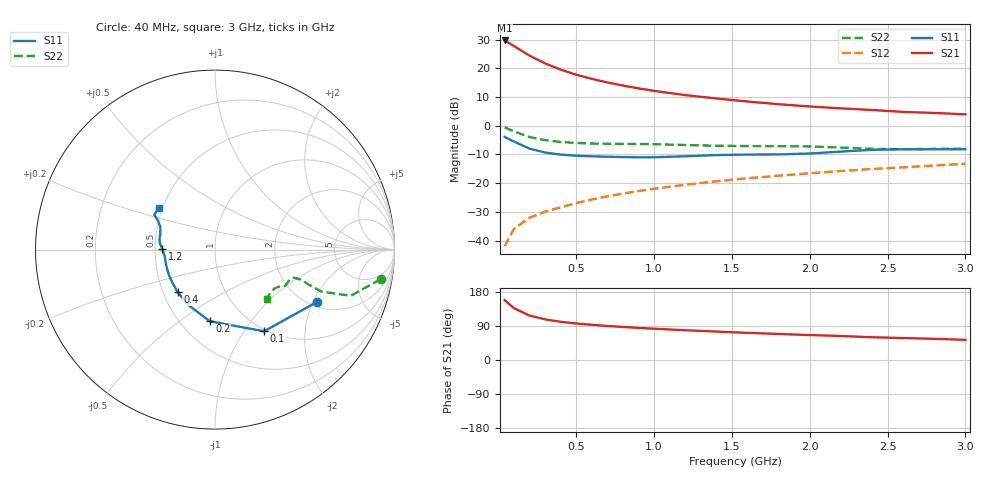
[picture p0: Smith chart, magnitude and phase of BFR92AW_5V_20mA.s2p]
! Filename:  BFR92AWE.S2P  Version:  4.0
! Philips part #: BFR92AW  Date: Jun 1994
! Bias condition: Vce=5V, Ic=20mA
#  MHz  S  MA  R  50
! Freq  S11  S21  S12  S22  !GUM [dB]
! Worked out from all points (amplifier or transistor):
!   21 points, 40 MHz to 3 GHz, reference 50 ohm
!   highest |S21| = 29.7 dB at 40 MHz (marker M1)
!   |S21| within 3 dB of that: start of sweep to 132.2 MHz
!   unconditionally stable (mu >= 1): 461.3 MHz to end of sweep
!   at 300 MHz: K = 0.85, MSG = 25.8 dB, |S12| = -29.9 dB
!   at 1 GHz: K = 1.12, MAG = 14.9 dB, |S12| = -21.9 dB
!   at 3 GHz: K = 1.07, MAG = 7.0 dB, |S12| = -13.2 dB
!   S11 on the Smith chart (normalised r, x): 40 MHz: 2.19, -2.16; 100 MHz: 0.98, -1.24; 200 MHz: 0.69, -0.65; 400 MHz: 0.59, -0.31; 1.2 GHz: 0.55, +0.01; 3 GHz: 0.48, +0.26
40  0.64 -27.0  30.62 158.1  0.008 79.1  0.938 -10.1
100  0.531 -59.0  24.55 136.8  0.016 67.8  0.799 -18.8
200  0.4 -94.2  16.7 117.3  0.025 63.6  0.638 -21.5
300  0.342 -116.1  12.19 107.2  0.032 64.4  0.562 -20.6
400  0.315 -131.4  9.503 100.8  0.038 66.9  0.523 -19.6
500  0.301 -141.7  7.76 96.4  0.045 68.5  0.502 -19.3
600  0.294 -150.1  6.567 92.9  0.052 70.7  0.491 -19.3
700  0.289 -156.5  5.688 89.9  0.059 71.9  0.486 -19.4
800  0.285 -162.5  5.019 87.2  0.066 73.1  0.484 -19.5
900  0.283 -168.0  4.485 84.7  0.073 73.7  0.482 -19.4
1000  0.283 -172.8  4.054 82.6  0.08 74.4  0.478 -19.4
1200  0.294 179.1  3.42 78.6  0.094 75.1  0.463 -19.8
1400  0.309 173.5  2.991 75.1  0.108 75.9  0.449 -21.7
1600  0.315 169.2  2.647 71.6  0.122 76.0  0.443 -24.8
1800  0.317 164.1  2.375 68.8  0.135 76.5  0.442 -26.7
2000  0.329 157.7  2.17 65.8  0.149 76.7  0.436 -27.7
2200  0.355 153.3  2.012 63.4  0.163 77.0  0.418 -29.1
2400  0.381 150.9  1.883 60.1  0.177 77.2  0.397 -32.9
2600  0.39 150.3  1.745 58.0  0.189 76.8  0.39 -38.1
2800  0.39 148.0  1.673 55.9  0.203 77.4  0.396 -41.8
3000  0.39 143.5  1.582 53.2  0.218 77.5  0.399 -44.0
